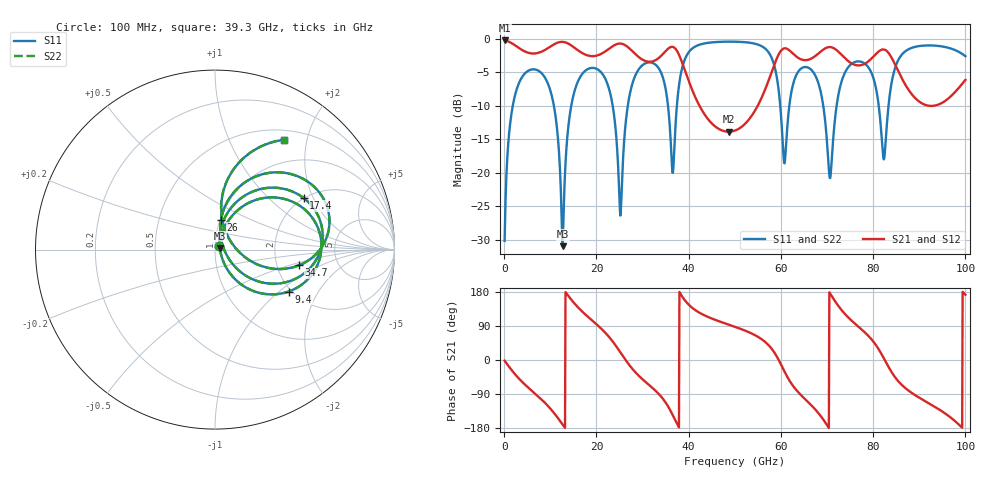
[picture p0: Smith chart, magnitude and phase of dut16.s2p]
! Touchstone file exported from HFSS 2026.1.0
!  File:  C:/ffzhzh/LocalFiles/Ansys_Project_Files/temp_train_TSV_RDL_16_1783613609_26216.aedt
!  Generated:  12:30:26 AM Jul 10, 2026
!  Design:  TSV_RDL
!  Project:  temp_train_TSV_RDL_16_1783613609_26216
! Variables:
!  h_bsmrdl = 4.8um
!  h_ox = 20um
!  h_rdl = 5um
!  h_sub = 93.38um
!  h_tmrdl = 3.74um
!  h_tsv = 93.38um
!  h_via = 3um
!  l_bsmrdl = 371.79um
!  l_sub = 4224.4um
!  l_tmrdl = 648.96um
!  m_sub = 200um
!  pitch = 55.87um
!  r_tsv = 11.13um
!  s_tmrdl = 10um
!  w_bsmrdl = 25.61um
!  w_sub = 500um
!  w_tmrdl = 12.12um
!  x_tsv_center1 = 655.02um
!  x_tsv_center2 = 1052.42um
!  x_tsv_center3 = 1713.5um
!  x_tsv_center4 = 2110.9um
!  x_tsv_center5 = 2771.98um
!  x_tsv_center6 = 3169.38um
# GHz S MA R 50.000000
! Terminal data exported
! Port[1] = TM_RDL1_1_T1
! Port[2] = TM_RDL5_1_T1
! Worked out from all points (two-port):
!   1000 points, 100 MHz to 100 GHz, reference 50 ohm
!   highest |S21| = -0.21 dB at 100 MHz (marker M1); lowest = -13.9 dB at 48.7 GHz (marker M2)
!   |S21| within 3 dB of the highest: start of sweep to 30.37 GHz; 58.93 GHz to 74.45 GHz (15.52 GHz wide, 23.3 % of centre) (the widest 2 of 4)
!   lowest |S11| = -31.0 dB at 12.7 GHz (marker M3), VSWR 1.06, Z = 52.7 + j0.99 ohm
!   |S11| at or under -10 dB: 10.79 GHz to 14.54 GHz (3.751 GHz wide, 29.6 % of centre); 23.54 GHz to 26.8 GHz (3.258 GHz wide, 12.9 % of centre); 69.19 GHz to 72.07 GHz (2.881 GHz wide, 4.08 % of centre) (the widest 3 of 7)
!   |S22| runs from -30.9 to -0.4 dB; largest |S21 - S12| = 3.4e-13
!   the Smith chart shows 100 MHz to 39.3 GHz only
!   S11 on the Smith chart (normalised r, x): 100 MHz: 1.05, +0.04; 9.4 GHz: 1.93, -1.16; 17.4 GHz: 1.99, +1.70; 26 GHz: 1.01, +0.35; 34.7 GHz: 2.65, -0.60; 39.3 GHz: 0.64, +1.62
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0.1  0.03102 37.1  0.9757 -1.7  0.9757 -1.7  0.03102 37.1
! Gamma 0 0 0 0
! Port Impedance 50 0 50 0
2.8  0.4294 42.7  0.8757 -43.7  0.8757 -43.7  0.4294 42.7
9.4  0.4722 -29.7  0.8506 -119.9  0.8506 -119.9  0.4722 -29.7
12.7  0.02833 19.3  0.9518 -170.7  0.9518 -170.7  0.02842 19.3
16.8  0.5407 36.6  0.7901 129.3  0.7901 129.3  0.5407 36.6
17.4  0.5717 30.2  0.7702 122.4  0.7702 122.4  0.5716 30.2
22.8  0.4175 -26.5  0.8493 60.0  0.8493 60.0  0.4174 -26.5
26  0.1703 78.6  0.9089 5.9  0.9089 5.9  0.1704 78.6
33.4  0.6126 4.0  0.7162 -88.1  0.7162 -88.1  0.6125 3.9
34.7  0.4754 -10.6  0.791 -106.8  0.791 -106.8  0.4752 -10.7
36.6  0.1002 39.6  0.8726 -146.7  0.8726 -146.7  0.09919 39.7
39.3  0.7213 57.9  0.5696 155.7  0.5696 155.7  0.7212 58.0
48.7  0.956 2.6  0.2029 93.2  0.2029 93.2  0.9559 2.6
50.1  0.955 -2.7  0.2074 87.3  0.2074 87.3  0.9549 -2.7
60.1  0.2471 -73.6  0.824 -13.7  0.824 -13.7  0.2476 -73.4
66.7  0.5838 -28.2  0.7177 -120.7  0.7177 -120.7  0.5837 -28.3
70.6  0.09144 -10.8  0.871 176.8  0.871 176.8  0.08945 -10.9
74.4  0.6022 20.1  0.6929 114.8  0.6929 114.8  0.6021 20.2
80.1  0.5047 -34.1  0.7412 47.7  0.7412 47.7  0.505 -33.9
83.4  0.3345 47.4  0.782 -19.6  0.782 -19.6  0.3354 47.1
90.3  0.8886 -13.2  0.3351 -101.6  0.3351 -101.6  0.8886 -13.3
100  0.7444 -92.7  0.4948 172.4  0.4948 172.4  0.7443 -92.7
